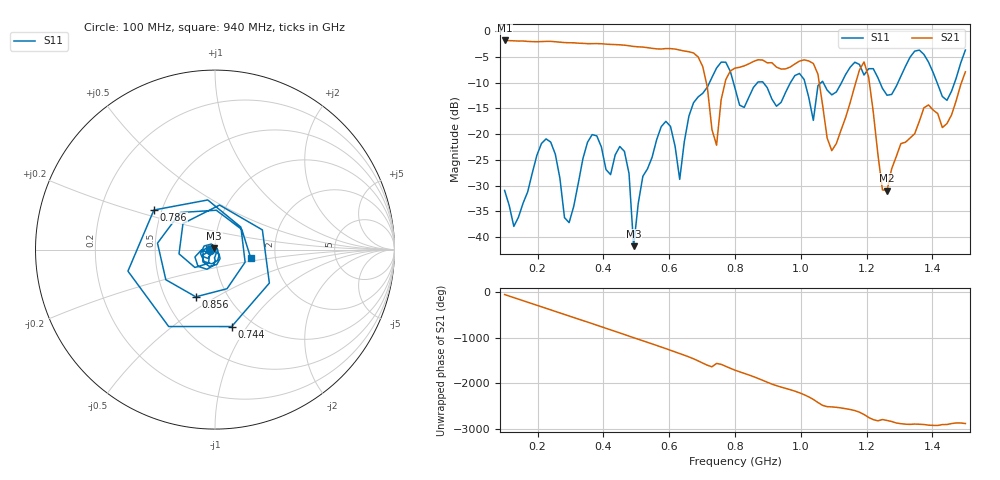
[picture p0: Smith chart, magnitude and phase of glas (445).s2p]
! NanoVNA-App
! Date: 2025-09-25 15:58:56
! Start: 100MHz Stop: 1,5GHz Points: 101
! S-Parameter data: F S11 S21 S12 S22
# Hz S RI R 50
!  Frequency  S11_Real  S11_Imag  S21_Real  S21_Imag  S12_Real  S12_Imag  S22_Real  S22_Imag
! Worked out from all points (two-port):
!   101 points, 100 MHz to 1.5 GHz, reference 50 ohm
!   highest |S21| = -1.80 dB at 100 MHz (marker M1); lowest = -31.0 dB at 1.262 GHz (marker M2)
!   |S21| within 3 dB of the highest: start of sweep to 684.3 MHz
!   lowest |S11| = -41.8 dB at 492 MHz (marker M3), VSWR 1.02, Z = 49.5 + j0.623 ohm
!   |S11| at or under -10 dB: start of sweep to 722.5 MHz; 795.4 MHz to 868.2 MHz (72.84 MHz wide, 8.76 % of centre); 886.1 MHz to 968.4 MHz (82.3 MHz wide, 8.88 % of centre) (the widest 3 of 7)
!   S12 and S22 are empty: the file has one direction only
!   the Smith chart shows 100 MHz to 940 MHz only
!   S11 on the Smith chart (normalised r, x): 100 MHz: 0.95, -0.01; 744 MHz: 0.80, -0.85; 786 MHz: 0.45, +0.24; 856 MHz: 0.71, -0.41; 940 MHz: 1.49, -0.14
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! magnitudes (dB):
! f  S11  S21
! 100 MHz  -30.9  -1.8
! 128 MHz  -37.9  -1.9
! 226 MHz  -20.9  -2.0
! 296 MHz  -37.2  -2.2
! 338 MHz  -24.7  -2.4
! 464 MHz  -23.4  -2.7
! 492 MHz  -41.8  -3.0
! 576 MHz  -18.5  -3.5
! 632 MHz  -28.8  -3.7
! 702 MHz  -12.1  -6.9
! 744 MHz  -7.2  -22.1
! 786 MHz  -7.8  -7.7
! 800 MHz  -11.1  -7.2
! 856 MHz  -10.9  -5.9
! 940 MHz  -13.8  -7.4
! 1.038 GHz  -17.3  -6.3
! 1.094 GHz  -12.4  -23.2
! 1.192 GHz  -8.5  -6.0
! 1.262 GHz  -12.4  -31.0
! 1.276 GHz  -12.3  -26.7
! 1.444 GHz  -13.4  -17.9
! 1.5 GHz  -3.7  -7.9
